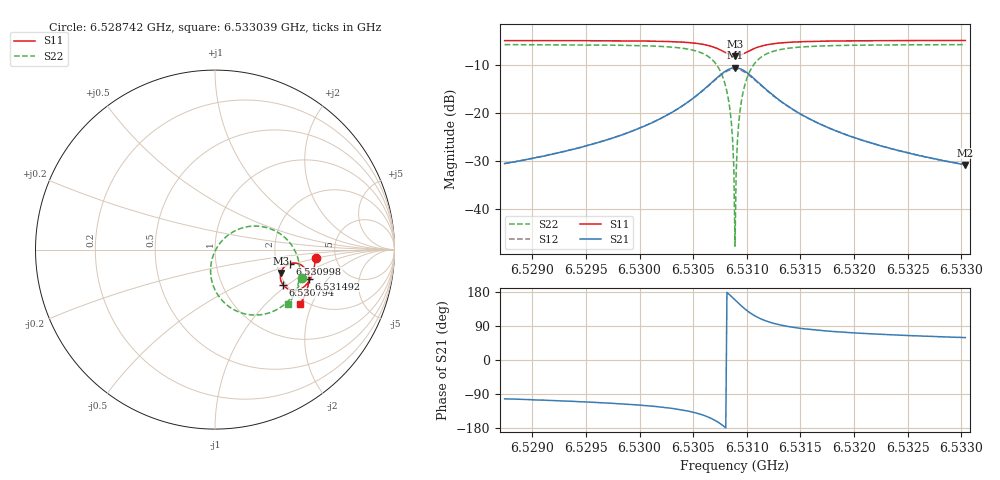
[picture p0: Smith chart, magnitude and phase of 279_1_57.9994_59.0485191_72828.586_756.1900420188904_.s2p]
#  HZ  S  RI  R  50.00
! Rohde & Schwarz Vector Network Analyzer
! Rohde-Schwarz,ZNB20-2Port,1311601062101988,3.16
! Created: UTC 3/21/2024, 1:02:47 AM
! freq[Hz]  re:S11  im:S11  re:S21  im:S21  re:S12  im:S12  re:S22  im:S22
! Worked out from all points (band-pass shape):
!   401 points, 6.528742 GHz to 6.533039 GHz, reference 50 ohm
!   highest |S21| = -10.64 dB at 6.53089 GHz (marker M1); lowest = -30.8 dB at 6.533039 GHz (marker M2)
!   |S21| within 3 dB of the highest: 6.530676 GHz to 6.531106 GHz (429.7 kHz wide, 0.00658 % of centre)
!   lowest |S11| = -8.2 dB at 6.53089 GHz (marker M3), VSWR 2.27, Z = 102 - j31 ohm
!   |S11| at or under -10 dB: nowhere
!   |S22| runs from -47.6 to -5.8 dB; largest |S21 - S12| = 0.011
!   S11 on the Smith chart (normalised r, x): 6.528742 GHz: 3.50, -0.46; 6.530794 GHz: 1.93, -0.92; 6.530998 GHz: 2.38, -0.45; 6.531492 GHz: 2.76, -1.27; 6.533039 GHz: 1.86, -1.65
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6.5287421e9  0.56 -0.0454  -0.00648 -0.0291  -0.00701 -0.0291  0.4854 -0.1585
6.5294618e9  0.5511 -0.105  -0.0153 -0.0415  -0.0163 -0.0412  0.4557 -0.2231
6.5301814e9  0.5242 -0.1754  -0.0474 -0.0714  -0.0494 -0.0701  0.3775 -0.3131
6.5306111e9  0.4562 -0.2258  -0.1507 -0.097  -0.1531 -0.0911  0.1791 -0.3608
6.5307185e9  0.4128 -0.2217  -0.2177 -0.0719  -0.2172 -0.0631  0.066 -0.3084
6.5307937e9  0.3788 -0.196  -0.2672 -0.0159  -0.2621 -0.00663  -0.00806 -0.2061
6.5308259e9  0.3684 -0.1768  -0.2804 0.021  -0.2729 0.0293  -0.0235 -0.1426
6.5308474e9  0.3646 -0.1616  -0.2837 0.0488  -0.275 0.0561  -0.0238 -0.096
6.5308581e9  0.3638 -0.1537  -0.2834 0.0636  -0.2741 0.0698  -0.0208 -0.0723
6.5308689e9  0.3638 -0.1457  -0.2816 0.0784  -0.272 0.0837  -0.0154 -0.0485
6.5308796e9  0.3648 -0.1375  -0.2784 0.0927  -0.2684 0.0973  -0.00736 -0.0255
6.5308904e9  0.3666 -0.1295  -0.2738 0.107  -0.2634 0.1107  0.00285 -0.00302
6.5309118e9  0.3729 -0.1143  -0.2602 0.1338  -0.2501 0.1356  0.0295 0.0382
6.5309226e9  0.3772 -0.1074  -0.2516 0.1458  -0.2417 0.1468  0.0457 0.0564
6.5309441e9  0.3876 -0.0954  -0.2316 0.1668  -0.2224 0.1662  0.0818 0.087
6.5309978e9  0.4194 -0.0775  -0.1739 0.1978  -0.1673 0.1952  0.1822 0.1279
6.5310622e9  0.4554 -0.0764  -0.1105 0.2017  -0.1067 0.1989  0.2885 0.1225
6.5311589e9  0.4913 -0.0943  -0.0485 0.1775  -0.0466 0.1756  0.3891 0.0674
6.5314919e9  0.522 -0.1612  0.0106 0.0981  0.0117 0.0978  0.4713 -0.097
6.53161e9  0.5218 -0.1778  0.0146 0.0826  0.0156 0.0823  0.4722 -0.1313
6.5323297e9  0.5028 -0.2502  0.0169 0.0396  0.0177 0.0394  0.4438 -0.2453
6.5330386e9  0.4758 -0.3027  0.0148 0.0248  0.0154 0.0245  0.4086 -0.3055
